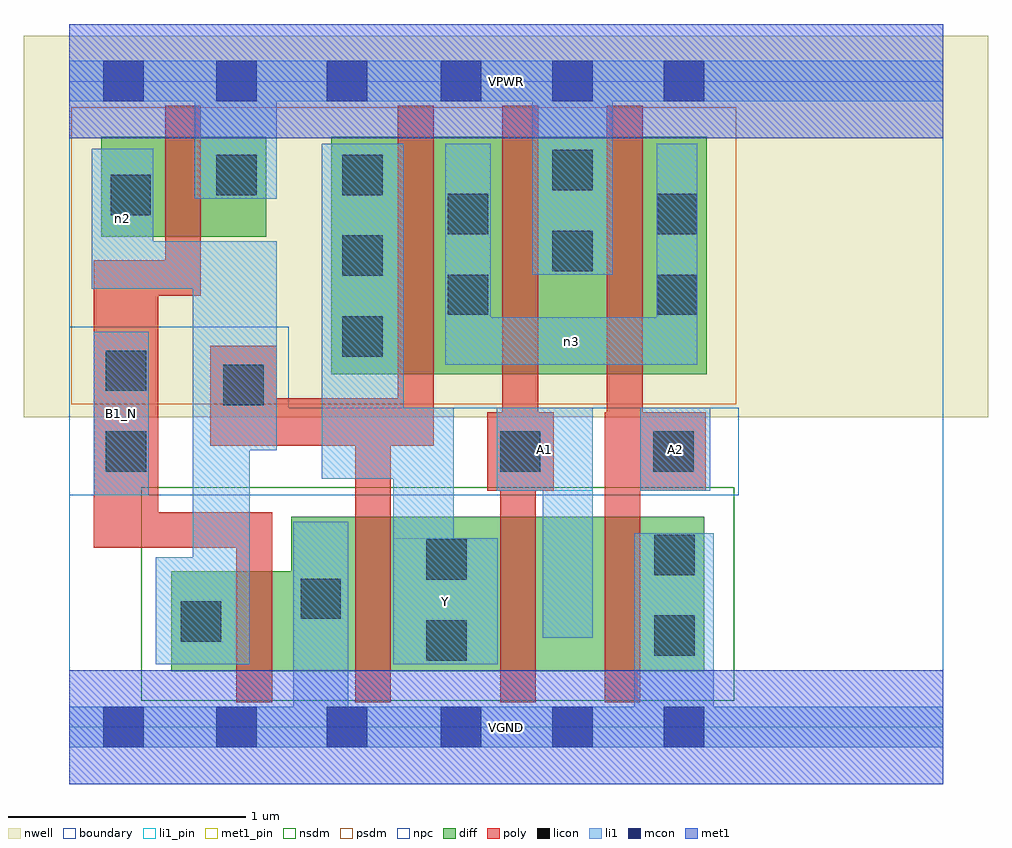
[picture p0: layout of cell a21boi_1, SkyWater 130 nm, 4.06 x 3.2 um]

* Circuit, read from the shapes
.subckt a21boi_1 A1 A2 B1_N VGND VPWR Y n2 n3
XM1 VGND B1_N n2 VSUBS sky130_fd_pr__nfet_01v8 w=0.42 l=0.15
XM2 Y n2 VGND VSUBS sky130_fd_pr__nfet_01v8 w=0.65 l=0.15
XM3 n1 A1 Y VSUBS sky130_fd_pr__nfet_01v8 w=0.65 l=0.15
XM4 VGND A2 n1 VSUBS sky130_fd_pr__nfet_01v8 w=0.65 l=0.15
XM5 VPWR B1_N n2 n4 sky130_fd_pr__pfet_01v8 w=0.42 l=0.15
XM6 n3 n2 Y n4 sky130_fd_pr__pfet_01v8 w=1 l=0.15
XM7 VPWR A1 n3 n4 sky130_fd_pr__pfet_01v8 w=1 l=0.15
XM8 n3 A2 VPWR n4 sky130_fd_pr__pfet_01v8 w=1 l=0.15
.ends

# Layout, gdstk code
import gdstk
lib = gdstk.Library(unit=1e-6, precision=1e-09)
def R(c, l, rs):  # rectangles x0, y0, x1, y1
    for r in rs: c.add(gdstk.rectangle(r[:2], r[2:], *l))
def A(c, l, x, y, w, h, nx, ny, dx, dy):  # array of equal rectangles
    R(c, l, [(x+i*dx, y+j*dy, x+i*dx+w, y+j*dy+h) for i in range(nx) for j in range(ny)])
nwell = (64, 20)
diff = (65, 20)
poly = (66, 20)
licon = (66, 44)
li1_pin = (67, 16)
li1 = (67, 20)
mcon = (67, 44)
met1_pin = (68, 16)
met1 = (68, 20)
nsdm = (93, 44)
psdm = (94, 20)
npc = (95, 20)
boundary = (235, 4)

a21boi_1 = lib.new_cell('a21boi_1')
R(a21boi_1, nwell, [(-0.19,1.305,3.87,2.91), (0,1.305,3.68,2.91)])
R(a21boi_1, diff, [(0.43,0.235,2.675,0.655), (0.935,0.235,2.675,0.885), (1.105,1.485,2.685,2.485), (0.135,2.065,0.83,2.485)])
R(a21boi_1, poly, [(0.705,0.105,0.855,0.905), (1.205,0.105,1.355,1.385), (1.815,0.105,1.965,1.325), (2.255,0.105,2.405,1.325), (0.105,0.755,0.375,1.965), (0.105,0.755,0.855,0.905), (1.76,0.995,2.04,1.325), (1.825,0.995,1.975,2.615), (2.255,0.995,2.68,1.325), (2.265,0.995,2.415,2.615), (0.595,1.185,1.535,1.385), (0.595,1.185,0.875,1.605), (1.385,1.185,1.535,2.615), (0.105,1.815,0.555,1.965), (0.405,1.815,0.555,2.615)])
A(a21boi_1, licon, 1.15, 1.56, 0.17, 0.17, 1, 3, 0, 0.34)
R(a21boi_1, licon, [(1.505,0.28,1.675,0.45), (2.465,0.3,2.635,0.47), (0.47,0.36,0.64,0.53), (0.975,0.455,1.145,0.625), (1.505,0.62,1.675,0.79), (2.465,0.64,2.635,0.81), (0.155,1.075,0.325,1.245), (1.815,1.075,1.985,1.245), (2.46,1.075,2.63,1.245), (0.65,1.355,0.82,1.525), (0.155,1.415,0.325,1.585), (1.595,1.735,1.765,1.905), (2.475,1.735,2.645,1.905), (2.035,1.92,2.205,2.09), (1.595,2.075,1.765,2.245), (2.475,2.075,2.645,2.245), (0.175,2.155,0.345,2.325), (0.62,2.24,0.79,2.41), (2.035,2.26,2.205,2.43)])
R(a21boi_1, li1_pin, [(1.365,0.265,1.805,0.795), (0.105,0.975,0.335,1.665), (1.8,0.995,2.205,1.345), (2.405,0.995,2.7,1.345)])
R(a21boi_1, li1, [(0,-0.085,3.68,0.085), (0.945,-0.085,1.175,0.865), (2.38,-0.085,2.715,0.815), (0.365,0.265,0.76,0.715), (0.52,0.265,0.76,2.045), (1.365,0.265,1.62,1.345), (1.365,0.265,1.805,0.795), (1.995,0.375,2.205,1.345), (0.105,0.975,0.335,1.665), (1.8,0.995,2.205,1.345), (2.405,0.995,2.7,1.345), (1.065,1.045,1.41,2.455), (0.52,1.165,0.875,2.045), (1.585,1.525,2.645,1.725), (1.585,1.525,1.775,2.455), (2.475,1.525,2.645,2.455), (0.095,1.845,0.355,2.435), (0.095,1.845,0.875,2.045), (1.95,1.905,2.29,2.805), (0.53,2.225,0.875,2.805), (0,2.635,3.68,2.805)])
A(a21boi_1, mcon, 1.565, -0.085, 0.17, 0.17, 3, 2, 0.47, 2.72)
R(a21boi_1, mcon, [(0.145,-0.085,0.315,0.085), (0.62,-0.085,0.79,0.085), (1.085,-0.085,1.255,0.085), (0.145,2.635,0.315,2.805), (0.62,2.635,0.79,2.805), (1.085,2.635,1.255,2.805)])
R(a21boi_1, met1_pin, [(0,-0.24,3.68,0.24), (0,2.48,3.68,2.96)])
R(a21boi_1, met1, [(0,-0.24,3.68,0.24), (0,2.48,3.68,2.96)])
R(a21boi_1, nsdm, [(0.305,0.11,2.8,1.01)])
R(a21boi_1, psdm, [(0.01,1.36,2.81,2.61)])
R(a21boi_1, npc, [(0,0.975,2.82,1.345), (0,0.975,0.925,1.685)])
R(a21boi_1, boundary, [(0,0,3.68,2.72)])
a21boi_1.add(gdstk.Label('A1', (2.002,1.17), layer=67, texttype=5))
a21boi_1.add(gdstk.Label('A2', (2.552,1.17), layer=67, texttype=5))
a21boi_1.add(gdstk.Label('B1_N', (0.22,1.32), layer=67, texttype=5))
a21boi_1.add(gdstk.Label('Y', (1.585,0.53), layer=67, texttype=5))
a21boi_1.add(gdstk.Label('n2', (0.225,2.14), layer=67, texttype=5))
a21boi_1.add(gdstk.Label('n3', (2.115,1.625), layer=67, texttype=5))
a21boi_1.add(gdstk.Label('VPWR', (1.84,2.72), layer=68, texttype=5))
a21boi_1.add(gdstk.Label('VGND', (1.84,0), layer=68, texttype=5))
a21boi_1.add(gdstk.Label('A1', (2.002,1.17), layer=67, texttype=16))
a21boi_1.add(gdstk.Label('A2', (2.552,1.17), layer=67, texttype=16))
a21boi_1.add(gdstk.Label('B1_N', (0.22,1.32), layer=67, texttype=16))
a21boi_1.add(gdstk.Label('Y', (1.585,0.53), layer=67, texttype=16))
a21boi_1.add(gdstk.Label('VPWR', (1.84,2.72), layer=68, texttype=16))
a21boi_1.add(gdstk.Label('VGND', (1.84,0), layer=68, texttype=16))

lib.write_gds('a21boi_1.gds')
